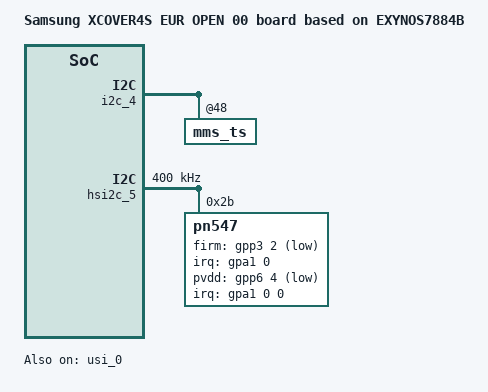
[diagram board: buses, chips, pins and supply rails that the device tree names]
/*
 * SAMSUNG EXYNOS7884B board device tree source

 *
 * Copyright (c) 2018 Samsung Electronics Co., Ltd.
 *		http://www.samsung.com
 *
 * This program is free software; you can redistribute it and/or modify
 * it under the terms of the GNU General Public License version 2 as
 * published by the Free Software Foundation.
*/

/dts-v1/;
/plugin/;

#include "exynos7884B-xcover4s_common.dtsi"
#include "exynos7884B-xcover4s_eur_open_gpio_00.dtsi"
/ {
	compatible = "samsung,XCOVER4S EUR OPEN 00", "samsung,EXYNOS7884B";

	dtbo-hw_rev = <0>;
    dtbo-hw_rev_end = <255>;


	fragment@model {
		target-path = "/";
		__overlay__ {
			#address-cells = <2>;
			#size-cells = <1>;

			model = "Samsung XCOVER4S EUR OPEN 00 board based on EXYNOS7884B";

		}; /* end of __overlay__ */
	}; /* end of fragment */
}; /* end of root */

&i2c_4 {
	mms_ts@48 {
		status = "okay";
	};
};

&pinctrl_0 { //11CB0000
	nfc_clk: nfc-clk {
		samsung,pins = "gpq0-0";
		samsung,pin-function = <2>;
		samsung,pin-pud = <0>;
	};

	nfc_int: nfc-int {
		samsung,pins = "gpa1-0";
		samsung,pin-function = <0>;
		samsung,pin-pud = <1>;
	};
};

&pinctrl_3 { //139B0000
	nfc_pvdd_en: nfc_pvdd_en {
		samsung,pins = "gpp6-4";
		samsung,pin-function = <1>;
		samsung,pin-pud = <0>;
		samsung,pin-val = <0>;
		samsung,pin-con-pdn = <3>;
		samsung,pin-pud-pdn = <0>;
	};

	nfc_firm: nfc_firm {
		samsung,pins = "gpp3-2";
		samsung,pin-function = <1>;
		samsung,pin-pud = <0>;
		samsung,pin-val = <0>;
		samsung,pin-con-pdn = <3>;
		samsung,pin-pud-pdn = <0>;
	};

	nfc_pd: nfc_pd {
		samsung,pins = "gpp2-2";
		samsung,pin-function = <2>;
		samsung,pin-pud = <0>;
		samsung,pin-drv = <0>;
		samsung,pin-con-pdn = <3>;
		samsung,pin-pud-pdn = <0>;
	};

	nfc_clk_req: nfc_clk_req {
		samsung,pins = "gpp2-3";
		samsung,pin-function = <2>;
		samsung,pin-pud = <1>;
		samsung,pin-drv = <0>;
		samsung,pin-con-pdn = <3>;
		samsung,pin-pud-pdn = <0>;
	};

	nfc_det: nfc-det {
		samsung,pins = "gpg2-2";
		samsung,pin-function = <0>;
		samsung,pin-pud = <0>;
	};
};

&usi_0 {
	usi_mode = "hsi2c0_hsi2c1";
	status = "okay";
};

&hsi2c_5 {
	status = "okay";
	clock-frequency = <400000>;  /*   400 kHz  */
	pn547@2B {
		compatible = "pn547";
		reg = <0x2B>;

		interrupt-parent = <&gpa1>;
		interrupts = <0 0 0>;

		pn547,nfc_pd = <&gpp2 2 0x2>;
		pn547,firm-gpio = <&gpp3 2 1>;
		pn547,irq-gpio = <&gpa1 0 0>;
		pn547,nfc_clkreq = <&gpp2 3 0x2>;
		pn547,pvdd-gpio = <&gpp6 4 1>;
		pn547,check_nfc =<&gpg2 2 0x0>;
		clkctrl-reg = <0x11C8600C>;

		pinctrl-names = "default";
		pinctrl-0 = <&nfc_pd &nfc_firm &nfc_int &nfc_clk &nfc_pvdd_en &nfc_clk_req &nfc_det>;
	};
};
